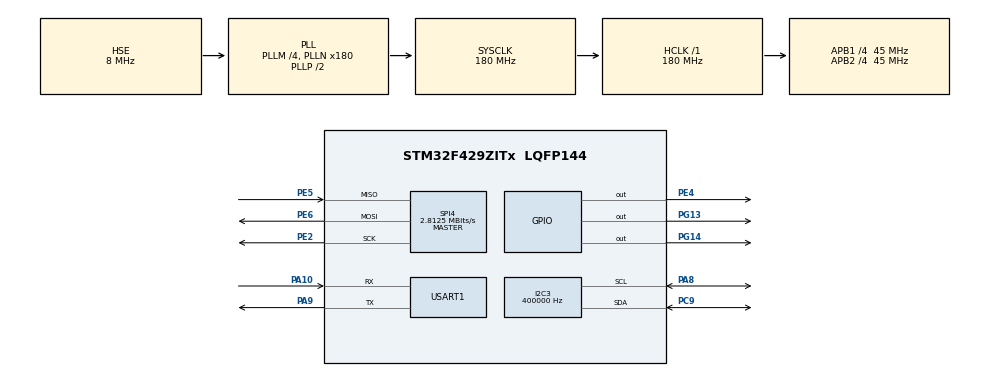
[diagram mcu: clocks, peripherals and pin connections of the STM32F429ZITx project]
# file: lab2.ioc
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I2C3.ClockSpeed=400000
I2C3.I2C_Mode=I2C_Fast
Mcu.Family=STM32F4
Mcu.Name=STM32F429ZITx
Mcu.Package=LQFP144
NVIC.PriorityGroup=NVIC_PRIORITYGROUP_4
PA10.Mode=Asynchronous
PA10.Signal=USART1_RX
PA8.Mode=I2C
PA8.Signal=I2C3_SCL
PA9.Mode=Asynchronous
PA9.Signal=USART1_TX
PC9.Mode=I2C
PC9.Signal=I2C3_SDA
PE2.Mode=Full_Duplex_Master
PE2.Signal=SPI4_SCK
PE4.Signal=GPIO_Output
PE5.Mode=Full_Duplex_Master
PE5.Signal=SPI4_MISO
PE6.Mode=Full_Duplex_Master
PE6.Signal=SPI4_MOSI
PG13.Signal=GPIO_Output
PG14.Signal=GPIO_Output
PH0/OSC_IN.Mode=HSE-External-Oscillator
PH0/OSC_IN.Signal=RCC_OSC_IN
PH1/OSC_OUT.Mode=HSE-External-Oscillator
PH1/OSC_OUT.Signal=RCC_OSC_OUT
ProjectManager.HeapSize=0x200
ProjectManager.StackSize=0x400
ProjectManager.TargetToolchain=STM32CubeIDE
RCC.48MHZClocksFreq_Value=90000000
RCC.AHBFreq_Value=180000000
RCC.APB1CLKDivider=RCC_HCLK_DIV4
RCC.APB1Freq_Value=45000000
RCC.APB1TimFreq_Value=90000000
RCC.APB2CLKDivider=RCC_HCLK_DIV4
RCC.APB2Freq_Value=45000000
RCC.APB2TimFreq_Value=90000000
RCC.CortexFreq_Value=180000000
RCC.HCLKFreq_Value=180000000
RCC.HSE_VALUE=8000000
RCC.HSI_VALUE=16000000
RCC.LSE_VALUE=32768
RCC.PLLM=4
RCC.PLLN=180
RCC.PLLSourceVirtual=RCC_PLLSOURCE_HSE
RCC.SYSCLKFreq_VALUE=180000000
RCC.SYSCLKSource=RCC_SYSCLKSOURCE_PLLCLK
RCC.VCOOutputFreq_Value=360000000
SPI4.BaudRatePrescaler=SPI_BAUDRATEPRESCALER_16
SPI4.CalculateBaudRate=2.8125 MBits/s
SPI4.Direction=SPI_DIRECTION_2LINES
SPI4.Mode=SPI_MODE_MASTER
SPI4.VirtualType=VM_MASTER
USART1.VirtualMode=VM_ASYNC
board=custom

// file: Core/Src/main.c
/* USER CODE BEGIN Header */
/**
  ******************************************************************************
  * @file           : main.c
  * @brief          : Main program body
  ******************************************************************************
  * @attention
  *
  * Copyright (c) 2025 STMicroelectronics.
  * All rights reserved.
  *
  * This software is licensed under terms that can be found in the LICENSE file
  * in the root directory of this software component.
  * If no LICENSE file comes with this software, it is provided AS-IS.
  *
  ******************************************************************************
  */
/* USER CODE END Header */
#include "main.h"

/* USER CODE BEGIN Includes */
#include "SH1106.h"
#include "fonts.h"
#include "tm_stm32f4_mfrc522.h"
#include <stdio.h>
/* USER CODE END Includes */

I2C_HandleTypeDef hi2c3;

SPI_HandleTypeDef hspi4;

UART_HandleTypeDef huart1;

/* USER CODE BEGIN PV */
struct Time {
    uint8_t sec;
    uint8_t min;
    uint8_t hour;
    uint8_t weekday;
    uint8_t day;
    uint8_t month;
    uint8_t year;
};
/* USER CODE END PV */

void SystemClock_Config(void);
static void MX_GPIO_Init(void);
static void MX_I2C3_Init(void);
static void MX_SPI4_Init(void);
static void MX_USART1_UART_Init(void);

/* USER CODE BEGIN 0 */

HAL_StatusTypeDef SetTime(struct Time *time)
{
    // Convert time struct to BCD format as required by DS1307
    uint8_t timeData[7];

    // DS1307 expects data in BCD format
    timeData[0] = ((time->sec / 10) << 4) | (time->sec % 10);         // Second
    timeData[1] = ((time->min / 10) << 4) | (time->min % 10);         // Minute
    timeData[2] = ((time->hour / 10) << 4) | (time->hour % 10);       // Hour
    timeData[3] = time->weekday & 0x07;                              // Weekday (1-7)
    timeData[4] = ((time->day / 10) << 4) | (time->day % 10);         // Day
    timeData[5] = ((time->month / 10) << 4) | (time->month % 10);     // Month
    timeData[6] = ((time->year / 10) << 4) | (time->year % 10);       // Year (0-99)

    // Write time to DS1307 (address 0xD0, register 0x00)
    return HAL_I2C_Mem_Write(&hi2c3, 0xD0, 0x00, 1, timeData, 7, 1000);
}

HAL_StatusTypeDef GetTime(struct Time *time)
{
    uint8_t timeData[7];

    // Read time from DS1307 (address 0xD0, register 0x00)
    HAL_StatusTypeDef status = HAL_I2C_Mem_Read(&hi2c3, 0xD1, 0x00, 1, timeData, 7, 1000);

    if (status == HAL_OK)
    {
        // Convert from BCD to decimal
        time->sec = ((timeData[0] & 0x70) >> 4) * 10 + (timeData[0] & 0x0F);
        time->min = ((timeData[1] & 0x70) >> 4) * 10 + (timeData[1] & 0x0F);
        time->hour = ((timeData[2] & 0x30) >> 4) * 10 + (timeData[2] & 0x0F);
        time->weekday = timeData[3] & 0x07;
        time->day = ((timeData[4] & 0x30) >> 4) * 10 + (timeData[4] & 0x0F);
        time->month = ((timeData[5] & 0x10) >> 4) * 10 + (timeData[5] & 0x0F);
        time->year = ((timeData[6] & 0xF0) >> 4) * 10 + (timeData[6] & 0x0F);
    }

    return status;
}

void PrintTime(struct Time *time)
{
    char buff[30];
    sprintf(buff, "%02d:%02d:%02d-%02d-%02d/%02d/%02d\r\n",
            time->hour,
            time->min,
            time->sec,
            time->weekday,
            time->day,
            time->month,
            time->year);
    HAL_UART_Transmit(&huart1, (uint8_t*)buff, strlen(buff), 1000);
}

void DisplayTimeOnOLED(struct Time *time)
{
    char timeStr[20];
    char dateStr[20];

    // Clear the screen
    SH1106_Fill(0);

    // Display time in HH:MM:SS format
    sprintf(timeStr, "%02d:%02d:%02d", time->hour, time->min, time->sec);
    SH1106_GotoXY(10, 0);
    SH1106_Puts(timeStr, &Font_7x10, 1);

    // Display date in DD/MM/YY format
    sprintf(dateStr, "%02d/%02d/20%02d", time->day, time->month, time->year);
    SH1106_GotoXY(10, 15);
    SH1106_Puts(dateStr, &Font_7x10, 1);

    // Update the display
    SH1106_UpdateScreen();
}

void ProcessMain(void)
{
    struct Time current_time;

    // Set time only once, or when needed
    // Example: Set time to current time - 17th April 2025, 7:30:10
    current_time.sec = 10;
    current_time.min = 30;
    current_time.hour = 7;
    current_time.day = 17;
    current_time.month = 4;
    current_time.year = 25;
    current_time.weekday = 4; // Thursday (1-7, where 1=Monday)

    // Set the time (uncomment this line when needed to update the time)
     SetTime(&current_time);

    // Main loop
    while (1) {
        // Get current time from DS1307
        if (GetTime(&current_time) == HAL_OK) {
            // Display time on OLED
            DisplayTimeOnOLED(&current_time);

            // Also print to UART for debugging
            PrintTime(&current_time);
        }

        // Update every second
        HAL_Delay(1000);
    }
}

/* USER CODE END 0 */

int main(void)
{

  /* MCU Configuration--------------------------------------------------------*/

  /* Reset of all peripherals, Initializes the Flash interface and the Systick. */
  HAL_Init();

  /* USER CODE BEGIN Init */
  SH1106_Init();

  /* USER CODE END Init */

  /* Configure the system clock */
  SystemClock_Config();

  /* Initialize all configured peripherals */
  MX_GPIO_Init();
  MX_I2C3_Init();
  MX_SPI4_Init();
  MX_USART1_UART_Init();
  /* USER CODE BEGIN 2 */
//  Bai 3.6, 3.7
  ProcessMain();

  char buf[100];
  uint8_t CardID[5];
  /* USER CODE END 2 */

  /* Infinite loop */
  while (1)
  {
	  if (TM_MFRC522_Check(CardID) == MI_OK) {
		  // Định dạng mã thẻ RFID (hex)
		  sprintf(buf, "%02X%02X%02X%02X", CardID[0], CardID[1], CardID[2], CardID[3]);
		  SH1106_GotoXY(12, 25);
		  SH1106_Puts(buf, &Font_7x10, 1);
		  SH1106_UpdateScreen();
		  HAL_Delay(1000);

	  } else {
		  sprintf(buf, "%s", "--------");
		  SH1106_GotoXY(12, 25);
		  SH1106_Puts(buf, &Font_7x10, 1);
		  SH1106_UpdateScreen();
		  HAL_Delay(1000);

	  }
  }
}

void SystemClock_Config(void)
{
  RCC_OscInitTypeDef RCC_OscInitStruct = {0};
  RCC_ClkInitTypeDef RCC_ClkInitStruct = {0};

  /** Configure the main internal regulator output voltage
  */
  __HAL_RCC_PWR_CLK_ENABLE();
  __HAL_PWR_VOLTAGESCALING_CONFIG(PWR_REGULATOR_VOLTAGE_SCALE1);

  /** Initializes the RCC Oscillators according to the specified parameters
  * in the RCC_OscInitTypeDef structure.
  */
  RCC_OscInitStruct.OscillatorType = RCC_OSCILLATORTYPE_HSE;
  RCC_OscInitStruct.HSEState = RCC_HSE_ON;
  RCC_OscInitStruct.PLL.PLLState = RCC_PLL_ON;
  RCC_OscInitStruct.PLL.PLLSource = RCC_PLLSOURCE_HSE;
  RCC_OscInitStruct.PLL.PLLM = 4;
  RCC_OscInitStruct.PLL.PLLN = 180;
  RCC_OscInitStruct.PLL.PLLP = RCC_PLLP_DIV2;
  RCC_OscInitStruct.PLL.PLLQ = 4;
  if (HAL_RCC_OscConfig(&RCC_OscInitStruct) != HAL_OK)
  {
    Error_Handler();
  }

  /** Activate the Over-Drive mode
  */
  if (HAL_PWREx_EnableOverDrive() != HAL_OK)
  {
    Error_Handler();
  }

  /** Initializes the CPU, AHB and APB buses clocks
  */
  RCC_ClkInitStruct.ClockType = RCC_CLOCKTYPE_HCLK|RCC_CLOCKTYPE_SYSCLK
                              |RCC_CLOCKTYPE_PCLK1|RCC_CLOCKTYPE_PCLK2;
  RCC_ClkInitStruct.SYSCLKSource = RCC_SYSCLKSOURCE_PLLCLK;
  RCC_ClkInitStruct.AHBCLKDivider = RCC_SYSCLK_DIV1;
  RCC_ClkInitStruct.APB1CLKDivider = RCC_HCLK_DIV4;
  RCC_ClkInitStruct.APB2CLKDivider = RCC_HCLK_DIV4;

  if (HAL_RCC_ClockConfig(&RCC_ClkInitStruct, FLASH_LATENCY_5) != HAL_OK)
  {
    Error_Handler();
  }
}

static void MX_I2C3_Init(void)
{

  hi2c3.Instance = I2C3;
  hi2c3.Init.ClockSpeed = 400000;
  hi2c3.Init.DutyCycle = I2C_DUTYCYCLE_2;
  hi2c3.Init.OwnAddress1 = 0;
  hi2c3.Init.AddressingMode = I2C_ADDRESSINGMODE_7BIT;
  hi2c3.Init.DualAddressMode = I2C_DUALADDRESS_DISABLE;
  hi2c3.Init.OwnAddress2 = 0;
  hi2c3.Init.GeneralCallMode = I2C_GENERALCALL_DISABLE;
  hi2c3.Init.NoStretchMode = I2C_NOSTRETCH_DISABLE;
  if (HAL_I2C_Init(&hi2c3) != HAL_OK)
  {
    Error_Handler();
  }

  /** Configure Analogue filter
  */
  if (HAL_I2CEx_ConfigAnalogFilter(&hi2c3, I2C_ANALOGFILTER_ENABLE) != HAL_OK)
  {
    Error_Handler();
  }

  /** Configure Digital filter
  */
  if (HAL_I2CEx_ConfigDigitalFilter(&hi2c3, 0) != HAL_OK)
  {
    Error_Handler();
  }

}

static void MX_SPI4_Init(void)
{

  /* SPI4 parameter configuration*/
  hspi4.Instance = SPI4;
  hspi4.Init.Mode = SPI_MODE_MASTER;
  hspi4.Init.Direction = SPI_DIRECTION_2LINES;
  hspi4.Init.DataSize = SPI_DATASIZE_8BIT;
  hspi4.Init.CLKPolarity = SPI_POLARITY_LOW;
  hspi4.Init.CLKPhase = SPI_PHASE_1EDGE;
  hspi4.Init.NSS = SPI_NSS_SOFT;
  hspi4.Init.BaudRatePrescaler = SPI_BAUDRATEPRESCALER_16;
  hspi4.Init.FirstBit = SPI_FIRSTBIT_MSB;
  hspi4.Init.TIMode = SPI_TIMODE_DISABLE;
  hspi4.Init.CRCCalculation = SPI_CRCCALCULATION_DISABLE;
  hspi4.Init.CRCPolynomial = 10;
  if (HAL_SPI_Init(&hspi4) != HAL_OK)
  {
    Error_Handler();
  }

}

static void MX_USART1_UART_Init(void)
{

  huart1.Instance = USART1;
  huart1.Init.BaudRate = 115200;
  huart1.Init.WordLength = UART_WORDLENGTH_8B;
  huart1.Init.StopBits = UART_STOPBITS_1;
  huart1.Init.Parity = UART_PARITY_NONE;
  huart1.Init.Mode = UART_MODE_TX_RX;
  huart1.Init.HwFlowCtl = UART_HWCONTROL_NONE;
  huart1.Init.OverSampling = UART_OVERSAMPLING_16;
  if (HAL_UART_Init(&huart1) != HAL_OK)
  {
    Error_Handler();
  }

}

static void MX_GPIO_Init(void)
{
  GPIO_InitTypeDef GPIO_InitStruct = {0};

  /* GPIO Ports Clock Enable */
  __HAL_RCC_GPIOE_CLK_ENABLE();
  __HAL_RCC_GPIOH_CLK_ENABLE();
  __HAL_RCC_GPIOC_CLK_ENABLE();
  __HAL_RCC_GPIOA_CLK_ENABLE();
  __HAL_RCC_GPIOG_CLK_ENABLE();

  /*Configure GPIO pin Output Level */
  HAL_GPIO_WritePin(GPIOE, GPIO_PIN_4, GPIO_PIN_RESET);

  /*Configure GPIO pin Output Level */
  HAL_GPIO_WritePin(GPIOG, GPIO_PIN_13|GPIO_PIN_14, GPIO_PIN_RESET);

  /*Configure GPIO pin : PE4 */
  GPIO_InitStruct.Pin = GPIO_PIN_4;
  GPIO_InitStruct.Mode = GPIO_MODE_OUTPUT_PP;
  GPIO_InitStruct.Pull = GPIO_NOPULL;
  GPIO_InitStruct.Speed = GPIO_SPEED_FREQ_LOW;
  HAL_GPIO_Init(GPIOE, &GPIO_InitStruct);

  /*Configure GPIO pins : PG13 PG14 */
  GPIO_InitStruct.Pin = GPIO_PIN_13|GPIO_PIN_14;
  GPIO_InitStruct.Mode = GPIO_MODE_OUTPUT_PP;
  GPIO_InitStruct.Pull = GPIO_NOPULL;
  GPIO_InitStruct.Speed = GPIO_SPEED_FREQ_LOW;
  HAL_GPIO_Init(GPIOG, &GPIO_InitStruct);

}

void Error_Handler(void)
{
  __disable_irq();
  while (1)
  {
  }
}
